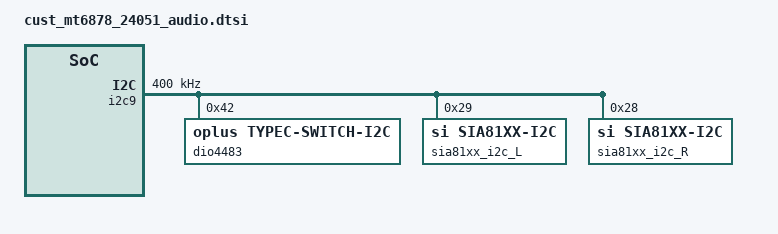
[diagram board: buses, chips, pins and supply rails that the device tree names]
// SPDX-License-Identifier: GPL-2.0
/* Copyright (c) 2020 MediaTek Inc. */

&i2c9 {
	clock-frequency = <400000>;

	dio4483: dio4483@42 {
		compatible = "oplus,typec-switch-i2c";
		reg = <0x42>;
		// add for supporting type-c headphone detect bypass
		oplus,hp-bypass = <1>;
		status = "okay";
	};

	sia81xx_i2c_L: sia81xx_i2c@29 {
		compatible = "si,sia81xx-i2c";
		reg = <0x29>;
		si,sipa-dev = <&si_pa_L>;
		status = "okay";
	};

	sia81xx_i2c_R: sia81xx_i2c@28 {
		compatible = "si,sia81xx-i2c";
		reg = <0x28>;
		si,sipa-dev = <&si_pa_R>;
		status = "okay";
	};
};

&pio {
	sia81xx_gpio_L: sia81xx_gpio_L {
		pins_cmd_dat {
			pinmux = <PINMUX_GPIO149__FUNC_GPIO149>;
			slew-rate = <1>;
			bias-disable;
		};
	};

	sia81xx_gpio_R: sia81xx_gpio_R {
		pins_cmd_dat {
			pinmux = <PINMUX_GPIO152__FUNC_GPIO152>;
			slew-rate = <1>;
			bias-disable;
		};
	};
};

&si_pa_L {
	compatible = "si,sia81xx";
	si,si_pa_type = "sia81x9";
	si,si_pa_reset = <&pio 149 0>;
	pinctrl-names = "si_pa_gpio";
	pinctrl-0 = <&sia81xx_gpio_L>;
	si,si_pa_disable_pin = <0>;
	channel_num = <0>;
};

&si_pa_R {
	compatible = "si,sia81xx";
	si,si_pa_type = "sia81x9";
	si,si_pa_reset = <&pio 152 0>;
	pinctrl-names = "si_pa_gpio";
	pinctrl-0 = <&sia81xx_gpio_R>;
	si,si_pa_disable_pin = <0>;
	channel_num = <1>;
};

&sound {
	si,sia81xx-max-num = <2>;
	si,sia81xx-aux-devs = <&si_pa_L>, <&si_pa_R>;
	si,sia81xx-aux-devs-prefix = "SpkrLeft", "SpkrRight";
	si,is_analog_pa = <1>;
	oplus,special-pa-dapm = <1>;
};

// add for supporting type-c headphone detect bypass
&accdet {
	headset-eint0-disable = <1>;
};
